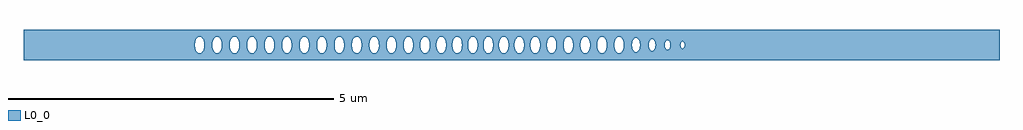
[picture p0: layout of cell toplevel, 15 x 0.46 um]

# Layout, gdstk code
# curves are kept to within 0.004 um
import gdstk
lib = gdstk.Library(unit=1e-6, precision=1e-09)
def P(c, l, *ps):  # polygons
    for p in ps: c.add(gdstk.Polygon(p, *l))
L0_0 = (0, 0)

toplevel = lib.new_cell('toplevel')
P(toplevel, L0_0, [(-4.209,-0.231),(-4.209,-0.101),(-4.243,-0.128),(-4.261,-0.13),(-4.284,-0.121),(-4.304,-0.101),(-4.316,-0.077),(-4.33,-0.016),(-4.327,0.04),(-4.319,0.07),(-4.304,0.101),(-4.288,0.118),(-4.27,0.128),(-4.247,0.129),(-4.233,0.124),(-4.209,0.101),(-4.209,0.231),(-7.5,0.231),(-7.5,-0.016),(-4.867,-0.016),(-4.864,0.04),(-4.853,0.077),(-4.825,0.118),(-4.798,0.13),(-4.77,0.124),(-4.742,0.095),(-4.724,0.048),(-4.719,-0.008),(-4.599,-0.008),(-4.594,0.048),(-4.579,0.089),(-4.556,0.118),(-4.529,0.13),(-4.502,0.124),(-4.477,0.101),(-4.462,0.07),(-4.451,0.016),(-4.454,-0.04),(-4.465,-0.077),(-4.493,-0.118),(-4.52,-0.13),(-4.548,-0.124),(-4.572,-0.101),(-4.59,-0.063),(-4.599,-0.008),(-4.719,-0.008),(-4.726,-0.056),(-4.742,-0.095),(-4.762,-0.118),(-4.788,-0.13),(-4.816,-0.124),(-4.837,-0.106),(-4.856,-0.07),(-4.867,-0.016),(-7.5,-0.016),(-7.5,-0.231)],
  [(-4.188,-0.048),(-4.209,-0.101),(-4.209,-0.231),(-3.461,-0.231),(-3.461,-0.129),(-3.479,-0.121),(-3.499,-0.101),(-3.514,-0.07),(-3.525,-0.016),(-3.522,0.04),(-3.511,0.077),(-3.495,0.106),(-3.461,0.129),(-3.461,0.231),(-4.209,0.231),(-4.209,0.101),(-4.189,0.056),(-4.183,-0.016),(-4.062,-0.016),(-4.059,0.04),(-4.048,0.077),(-4.02,0.118),(-3.993,0.13),(-3.965,0.124),(-3.937,0.095),(-3.919,0.048),(-3.914,-0.008),(-3.794,-0.008),(-3.789,0.048),(-3.774,0.089),(-3.751,0.118),(-3.724,0.13),(-3.697,0.124),(-3.672,0.101),(-3.657,0.07),(-3.646,0.016),(-3.649,-0.04),(-3.66,-0.077),(-3.688,-0.118),(-3.715,-0.13),(-3.743,-0.124),(-3.767,-0.101),(-3.785,-0.063),(-3.794,-0.008),(-3.914,-0.008),(-3.921,-0.056),(-3.937,-0.095),(-3.957,-0.118),(-3.983,-0.13),(-4.011,-0.124),(-4.032,-0.106),(-4.051,-0.07),(-4.062,-0.016),(-4.183,-0.016)],
  [(-3.447,0.13),(-3.42,0.118),(-3.391,0.077),(-3.382,0.048),(-3.378,-0.016),(-3.257,-0.016),(-3.254,0.04),(-3.243,0.077),(-3.215,0.118),(-3.188,0.13),(-3.16,0.124),(-3.132,0.095),(-3.114,0.048),(-3.109,-0.008),(-2.989,-0.008),(-2.984,0.048),(-2.962,0.101),(-2.938,0.124),(-2.905,0.129),(-2.871,0.106),(-2.855,0.077),(-2.844,0.04),(-2.841,-0.016),(-2.852,-0.07),(-2.867,-0.101),(-2.887,-0.121),(-2.91,-0.13),(-2.938,-0.124),(-2.962,-0.101),(-2.98,-0.063),(-2.989,-0.008),(-3.109,-0.008),(-3.116,-0.056),(-3.132,-0.095),(-3.152,-0.118),(-3.178,-0.13),(-3.206,-0.124),(-3.227,-0.106),(-3.246,-0.07),(-3.257,-0.016),(-3.378,-0.016),(-3.386,-0.063),(-3.404,-0.101),(-3.428,-0.124),(-3.461,-0.129),(-3.461,-0.231),(-2.706,-0.231),(-2.706,-0.077),(-2.72,-0.016),(-2.717,0.04),(-2.706,0.076),(-2.706,0.231),(-3.461,0.231),(-3.461,0.129)],
  [(-2.694,0.101),(-2.674,0.121),(-2.656,0.129),(-2.632,0.128),(-2.615,0.118),(-2.599,0.101),(-2.581,0.063),(-2.573,-0.016),(-2.452,-0.016),(-2.449,0.04),(-2.429,0.095),(-2.401,0.124),(-2.383,0.13),(-2.364,0.128),(-2.334,0.106),(-2.315,0.07),(-2.305,0.024),(-2.305,-0.016),(-2.184,-0.016),(-2.181,0.04),(-2.158,0.101),(-2.133,0.124),(-2.106,0.13),(-2.079,0.118),(-2.056,0.089),(-2.041,0.048),(-2.036,-0.008),(-2.041,-0.048),(-2.056,-0.089),(-2.079,-0.118),(-2.106,-0.13),(-2.133,-0.124),(-2.158,-0.101),(-2.173,-0.07),(-2.184,-0.016),(-2.305,-0.016),(-2.311,-0.056),(-2.327,-0.095),(-2.347,-0.118),(-2.373,-0.13),(-2.401,-0.124),(-2.422,-0.106),(-2.441,-0.07),(-2.452,-0.016),(-2.573,-0.016),(-2.586,-0.077),(-2.599,-0.101),(-2.623,-0.124),(-2.642,-0.13),(-2.669,-0.124),(-2.694,-0.101),(-2.706,-0.077),(-2.706,-0.231),(-1.919,-0.231),(-1.919,0.231),(-2.706,0.231),(-2.706,0.077)],
  [(-1.402,0.016),(-1.396,0.056),(-1.376,0.101),(-1.356,0.121),(-1.333,0.13),(-1.333,0.231),(-1.919,0.231),(-1.919,0.016),(-1.908,0.07),(-1.889,0.106),(-1.864,0.126),(-1.84,0.13),(-1.809,0.114),(-1.785,0.077),(-1.773,0.032),(-1.772,-0.016),(-1.658,-0.016),(-1.655,0.04),(-1.635,0.095),(-1.607,0.124),(-1.58,0.13),(-1.561,0.124),(-1.533,0.095),(-1.517,0.056),(-1.51,0.008),(-1.515,-0.048),(-1.533,-0.095),(-1.561,-0.124),(-1.58,-0.13),(-1.603,-0.126),(-1.628,-0.106),(-1.647,-0.07),(-1.658,-0.016),(-1.772,-0.016),(-1.78,-0.063),(-1.798,-0.101),(-1.831,-0.128),(-1.859,-0.128),(-1.877,-0.118),(-1.896,-0.095),(-1.908,-0.07),(-1.919,-0.016),(-1.919,-0.231),(-1.333,-0.231),(-1.333,-0.13),(-1.36,-0.118),(-1.386,-0.083),(-1.399,-0.04)],
  [(-1.258,-0.04),(-1.271,-0.083),(-1.285,-0.106),(-1.306,-0.124),(-1.333,-0.13),(-1.333,-0.231),(-0.661,-0.231),(-0.661,-0.056),(-0.668,-0.008),(-0.661,0.056),(-0.661,0.231),(-1.333,0.231),(-1.333,0.13),(-1.306,0.124),(-1.281,0.101),(-1.261,0.056),(-1.255,-0.008),(-1.153,-0.008),(-1.148,0.048),(-1.133,0.089),(-1.11,0.118),(-1.083,0.13),(-1.056,0.124),(-1.031,0.101),(-1.008,0.04),(-1.005,-0.016),(-0.908,-0.016),(-0.905,0.04),(-0.897,0.07),(-0.878,0.106),(-0.848,0.128),(-0.829,0.13),(-0.802,0.118),(-0.783,0.095),(-0.767,0.056),(-0.76,-0.008),(-0.771,-0.07),(-0.79,-0.106),(-0.811,-0.124),(-0.829,-0.13),(-0.857,-0.124),(-0.878,-0.106),(-0.897,-0.07),(-0.908,-0.016),(-1.005,-0.016),(-1.016,-0.07),(-1.031,-0.101),(-1.051,-0.121),(-1.074,-0.13),(-1.102,-0.124),(-1.126,-0.101),(-1.144,-0.063),(-1.153,-0.008),(-1.255,-0.008)],
  [(-0.661,0.231),(-0.661,0.056),(-0.648,0.089),(-0.625,0.118),(-0.608,0.128),(-0.58,0.128),(-0.55,0.106),(-0.534,0.077),(-0.523,0.04),(-0.52,-0.008),(-0.43,-0.008),(-0.425,0.048),(-0.407,0.095),(-0.379,0.124),(-0.351,0.13),(-0.324,0.118),(-0.305,0.095),(-0.293,0.07),(-0.282,0.016),(-0.285,-0.04),(-0.296,-0.077),(-0.324,-0.118),(-0.351,-0.13),(-0.379,-0.124),(-0.407,-0.095),(-0.421,-0.064),(-0.43,-0.008),(-0.52,-0.008),(-0.527,-0.056),(-0.546,-0.101),(-0.566,-0.121),(-0.584,-0.129),(-0.608,-0.128),(-0.625,-0.118),(-0.641,-0.101),(-0.661,-0.057),(-0.661,-0.231),(-0.048,-0.231),(-0.048,-0.041),(-0.075,-0.106),(-0.1,-0.126),(-0.128,-0.129),(-0.15,-0.118),(-0.173,-0.089),(-0.188,-0.048),(-0.193,-0.008),(-0.188,0.048),(-0.179,0.077),(-0.162,0.106),(-0.132,0.128),(-0.105,0.128),(-0.075,0.106),(-0.048,0.04),(-0.048,0.231)],
  [(0.664,-0.231),(0.664,-0.101),(0.644,-0.121),(0.626,-0.129),(0.603,-0.128),(0.585,-0.118),(0.569,-0.101),(0.554,-0.07),(0.542,0),(0.554,0.07),(0.569,0.101),(0.585,0.118),(0.603,0.128),(0.626,0.129),(0.644,0.121),(0.664,0.101),(0.664,0.231),(-0.048,0.231),(-0.045,-0.008),(0.046,-0.008),(0.051,0.048),(0.066,0.089),(0.089,0.118),(0.116,0.13),(0.143,0.124),(0.168,0.101),(0.191,0.04),(0.194,-0.016),(0.291,-0.016),(0.294,0.04),(0.305,0.077),(0.333,0.118),(0.36,0.13),(0.388,0.124),(0.412,0.101),(0.43,0.063),(0.439,0.008),(0.434,-0.048),(0.419,-0.089),(0.396,-0.118),(0.369,-0.13),(0.342,-0.124),(0.317,-0.101),(0.302,-0.07),(0.291,-0.016),(0.194,-0.016),(0.183,-0.07),(0.168,-0.101),(0.143,-0.124),(0.116,-0.13),(0.089,-0.118),(0.066,-0.089),(0.051,-0.048),(0.046,-0.008),(-0.045,-0.008),(-0.048,-0.231)],
  [(1.321,0.04),(1.332,0.077),(1.36,0.118),(1.387,0.13),(1.419,0.121),(1.419,0.231),(0.664,0.231),(0.664,0.101),(0.684,0.056),(0.69,-0.016),(0.8,-0.016),(0.803,0.04),(0.814,0.077),(0.842,0.118),(0.869,0.13),(0.897,0.124),(0.928,0.089),(0.943,0.048),(0.947,-0.016),(1.059,-0.016),(1.062,0.04),(1.073,0.077),(1.101,0.118),(1.128,0.13),(1.156,0.124),(1.18,0.101),(1.198,0.063),(1.207,0.008),(1.202,-0.048),(1.187,-0.089),(1.164,-0.118),(1.137,-0.13),(1.11,-0.124),(1.085,-0.101),(1.07,-0.07),(1.059,-0.016),(0.947,-0.016),(0.939,-0.063),(0.921,-0.101),(0.897,-0.124),(0.878,-0.13),(0.851,-0.124),(0.826,-0.101),(0.811,-0.07),(0.8,-0.016),(0.69,-0.016),(0.684,-0.056),(0.664,-0.101),(0.664,-0.231),(1.419,-0.231),(1.419,-0.121),(1.396,-0.13),(1.378,-0.128),(1.344,-0.101),(1.321,-0.04)],
  [(1.46,-0.048),(1.446,-0.089),(1.419,-0.121),(1.419,-0.231),(2.12,-0.231),(2.12,-0.06),(2.108,-0.012),(2.109,0.023),(2.12,0.06),(2.12,0.231),(1.419,0.231),(1.419,0.121),(1.452,0.077),(1.466,-0.008),(1.579,-0.008),(1.584,0.048),(1.602,0.095),(1.63,0.124),(1.649,0.13),(1.676,0.124),(1.704,0.095),(1.724,0.04),(1.727,-0.014),(1.849,-0.014),(1.852,0.035),(1.863,0.071),(1.878,0.095),(1.908,0.112),(1.928,0.109),(1.947,0.095),(1.962,0.071),(1.973,0.035),(1.976,-0.014),(1.964,-0.066),(1.947,-0.095),(1.916,-0.112),(1.893,-0.107),(1.875,-0.091),(1.861,-0.066),(1.849,-0.014),(1.727,-0.014),(1.72,-0.056),(1.704,-0.095),(1.685,-0.118),(1.658,-0.13),(1.63,-0.124),(1.602,-0.095),(1.586,-0.056),(1.579,-0.008),(1.466,-0.008)],
  [(2.13,0.076),(2.158,0.094),(2.187,0.082),(2.208,0.045),(2.214,-0.009),(2.356,-0.009),(2.367,0.052),(2.393,0.075),(2.412,0.072),(2.43,0.052),(2.441,0.014),(2.441,-0.011),(2.597,-0.011),(2.603,0.034),(2.625,0.057),(2.65,0.044),(2.662,-0.004),(2.653,-0.039),(2.633,-0.057),(2.61,-0.046),(2.597,-0.011),(2.441,-0.011),(2.43,-0.052),(2.404,-0.075),(2.385,-0.072),(2.373,-0.061),(2.356,-0.009),(2.214,-0.009),(2.202,-0.06),(2.174,-0.091),(2.158,-0.094),(2.144,-0.089),(2.12,-0.06),(2.12,-0.231),(7.5,-0.231),(7.5,0.231),(2.12,0.231),(2.12,0.06)])

lib.write_gds('toplevel.gds')
